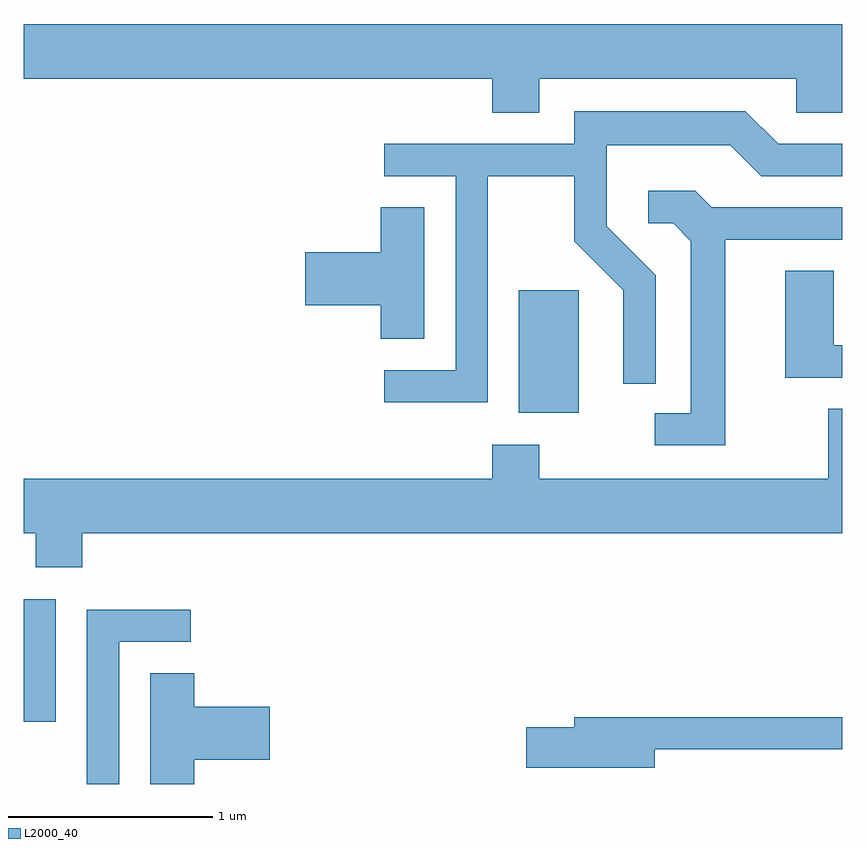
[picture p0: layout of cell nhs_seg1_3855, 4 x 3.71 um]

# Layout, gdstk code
import gdstk
lib = gdstk.Library(unit=1e-6, precision=1e-09)
def R(c, l, rs):  # rectangles x0, y0, x1, y1
    for r in rs: c.add(gdstk.rectangle(r[:2], r[2:], *l))
def P(c, l, *ps):  # polygons
    for p in ps: c.add(gdstk.Polygon(p, *l))
L2000_40 = (2000, 40)

nhs_seg1_3855 = lib.new_cell('nhs_seg1_3855')
R(nhs_seg1_3855, L2000_40, [(301.611,872.016,301.769,872.614), (304.031,873.526,304.324,874.124)])
P(nhs_seg1_3855, L2000_40, [(304.129,875.156),(305.386,875.156),(305.386,874.991),(305.611,874.991),(305.611,875.424),(301.611,875.424),(301.611,875.156),(303.901,875.156),(303.901,874.991),(304.129,874.991)],
  [(303.879,874.681),(304.301,874.681),(304.301,874.364),(304.541,874.124),(304.541,873.668),(304.699,873.668),(304.699,874.197),(304.459,874.437),(304.459,874.831),(305.064,874.831),(305.214,874.681),(305.611,874.681),(305.611,874.839),(305.297,874.839),(305.137,874.999),(304.301,874.999),(304.301,874.839),(303.373,874.839),(303.373,874.681),(303.721,874.681),(303.721,873.734),(303.373,873.734),(303.373,873.576),(303.879,873.576)],
  [(305.039,874.371),(305.611,874.371),(305.611,874.529),(304.972,874.529),(304.892,874.609),(304.663,874.609),(304.663,874.451),(304.784,874.451),(304.871,874.364),(304.871,873.524),(304.693,873.524),(304.693,873.366),(305.039,873.366)],
  [(303.569,874.529),(303.356,874.529),(303.356,874.309),(302.986,874.309),(302.986,874.051),(303.356,874.051),(303.356,873.886),(303.569,873.886)],
  [(305.611,873.854),(305.569,873.854),(305.569,874.219),(305.331,874.219),(305.331,873.696),(305.611,873.696)],
  [(301.899,872.936),(305.611,872.936),(305.611,873.544),(305.541,873.544),(305.541,873.204),(304.129,873.204),(304.129,873.369),(303.901,873.369),(303.901,873.204),(301.611,873.204),(301.611,872.936),(301.671,872.936),(301.671,872.771),(301.899,872.771)],
  [(302.079,872.406),(302.428,872.406),(302.428,872.564),(301.921,872.564),(301.921,871.712),(302.079,871.712)],
  [(302.444,871.831),(302.814,871.831),(302.814,872.089),(302.444,872.089),(302.444,872.254),(302.231,872.254),(302.231,871.712),(302.444,871.712)],
  [(304.694,871.881),(305.611,871.881),(305.611,872.039),(304.301,872.039),(304.301,871.989),(304.066,871.989),(304.066,871.791),(304.694,871.791)])

lib.write_gds('nhs_seg1_3855.gds')
